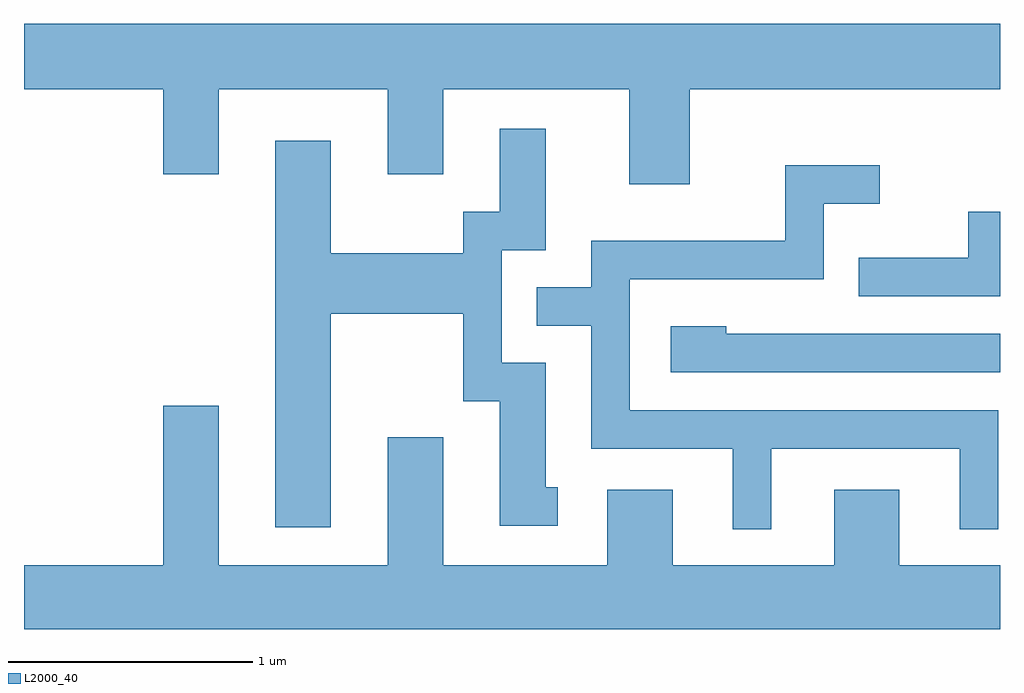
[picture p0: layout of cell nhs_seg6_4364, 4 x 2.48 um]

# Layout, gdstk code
import gdstk
lib = gdstk.Library(unit=1e-6, precision=1e-09)
def P(c, l, *ps):  # polygons
    for p in ps: c.add(gdstk.Polygon(p, *l))
L2000_40 = (2000, 40)

nhs_seg6_4364 = lib.new_cell('nhs_seg6_4364')
P(nhs_seg6_4364, L2000_40, [(320.339,1654.376),(321.611,1654.376),(321.611,1654.644),(317.611,1654.644),(317.611,1654.376),(318.181,1654.376),(318.181,1654.026),(318.409,1654.026),(318.409,1654.376),(319.101,1654.376),(319.101,1654.026),(319.329,1654.026),(319.329,1654.376),(320.091,1654.376),(320.091,1653.986),(320.339,1653.986)],
  [(318.869,1653.456),(319.411,1653.456),(319.411,1653.096),(319.561,1653.096),(319.561,1652.586),(319.798,1652.586),(319.798,1652.744),(319.749,1652.744),(319.749,1653.254),(319.569,1653.254),(319.569,1653.716),(319.749,1653.716),(319.749,1654.214),(319.561,1654.214),(319.561,1653.874),(319.411,1653.874),(319.411,1653.704),(318.869,1653.704),(318.869,1654.164),(318.641,1654.164),(318.641,1652.581),(318.869,1652.581)],
  [(320.674,1652.901),(321.446,1652.901),(321.446,1652.573),(321.604,1652.573),(321.604,1653.059),(320.094,1653.059),(320.094,1653.596),(320.889,1653.596),(320.889,1653.906),(321.118,1653.906),(321.118,1654.064),(320.731,1654.064),(320.731,1653.754),(319.936,1653.754),(319.936,1653.564),(319.713,1653.564),(319.713,1653.406),(319.936,1653.406),(319.936,1652.901),(320.516,1652.901),(320.516,1652.573),(320.674,1652.573)],
  [(321.611,1653.874),(321.481,1653.874),(321.481,1653.684),(321.033,1653.684),(321.033,1653.526),(321.611,1653.526)],
  [(321.611,1653.374),(320.489,1653.374),(320.489,1653.404),(320.261,1653.404),(320.261,1653.216),(321.611,1653.216)],
  [(321.611,1652.424),(321.199,1652.424),(321.199,1652.734),(320.931,1652.734),(320.931,1652.424),(320.269,1652.424),(320.269,1652.734),(320.001,1652.734),(320.001,1652.424),(319.329,1652.424),(319.329,1652.949),(319.101,1652.949),(319.101,1652.424),(318.409,1652.424),(318.409,1653.079),(318.181,1653.079),(318.181,1652.424),(317.611,1652.424),(317.611,1652.162),(321.611,1652.162)])

lib.write_gds('nhs_seg6_4364.gds')
